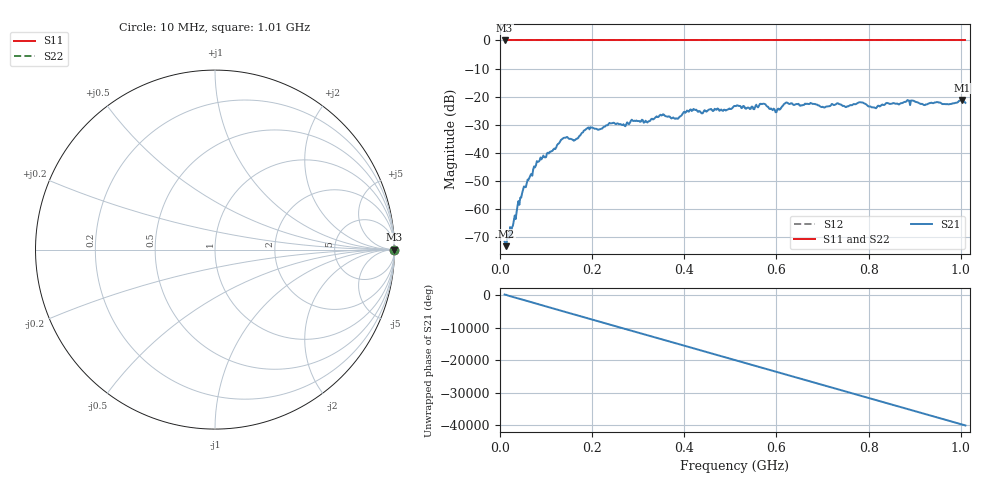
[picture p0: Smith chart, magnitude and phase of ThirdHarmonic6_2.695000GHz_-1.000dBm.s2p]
! 8/17/2025 6:25:13 AM
! C:\ANRITSUVNA\TEMP\TEMP.S2P
! CHANNEL.1
! TR.MEASUREMENT
! RAW.DATA
! RF.CORRECTION.OFF
! AVERAGING.OFF
! IF.BANDWIDTH: 5KHZ
! SWEEPTYPE:  FREQ.SWEEP(Linear)
! Reference Plane Port Info
! PORT:  PORT1  PORT2
! DISTANCE:  0  m  0  m
! TIME:  0  s  0  s
! PHASE.OFFSET:  0  deg.  0  deg.
! LOSS:  0  dB  0  dB
! REF.LOSS:  0  dB  0  dB
! REF.FREQ:  0  Hz  0  Hz
! Power Info
! POWER:  -20  dBm  -20  dBm
! EFF.POWER:  -20  dBm  -20  dBm
! SOURCE.ATTEN:  0  dB  0  dB
! TEST.ATTEN:  0  dB  0  dB
# GHZ S RI R 50.0
! FREQ.GHZ  S11RE  S11IM  S21RE  S21IM  S12RE  S12IM  S22RE  S22IM
!; PortSelection: Port_12
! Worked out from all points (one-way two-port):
!   501 points, 10 MHz to 1.01 GHz, reference 50 ohm
!   highest |S21| = -21.13 dB at 1.002 GHz (marker M1); lowest = -73.1 dB at 14 MHz (marker M2)
!   lowest |S11| = 0.0 dB at 10 MHz (marker M3)
!   |S11| at or under -10 dB: nowhere
!   |S22| runs from 0.0 to 0.0 dB; largest |S21 - S12| = 1.1
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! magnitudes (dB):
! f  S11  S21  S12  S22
! 10 MHz  0.0  -71.4  0.0  0.0
! 14 MHz  0.0  -73.1  0.0  0.0
! 24 MHz  0.0  -69.7  0.0  0.0
! 48 MHz  0.0  -54.2  0.0  0.0
! 78 MHz  0.0  -44.4  0.0  0.0
! 136 MHz  0.0  -34.9  0.0  0.0
! 164 MHz  0.0  -35.2  0.0  0.0
! 178 MHz  0.0  -32.8  0.0  0.0
! 344 MHz  0.0  -27.2  0.0  0.0
! 384 MHz  0.0  -27.8  0.0  0.0
! 416 MHz  0.0  -25.0  0.0  0.0
! 510 MHz  0.0  -23.3  0.0  0.0
! 572 MHz  0.0  -22.5  0.0  0.0
! 596 MHz  0.0  -24.5  0.0  0.0
! 620 MHz  0.0  -22.2  0.0  0.0
! 678 MHz  0.0  -22.5  0.0  0.0
! 702 MHz  0.0  -23.7  0.0  0.0
! 784 MHz  0.0  -22.0  0.0  0.0
! 812 MHz  0.0  -23.8  0.0  0.0
! 844 MHz  0.0  -22.4  0.0  0.0
! 1.002 GHz  0.0  -21.1  0.0  0.0
! 1.01 GHz  0.0  -22.2  0.0  0.0
